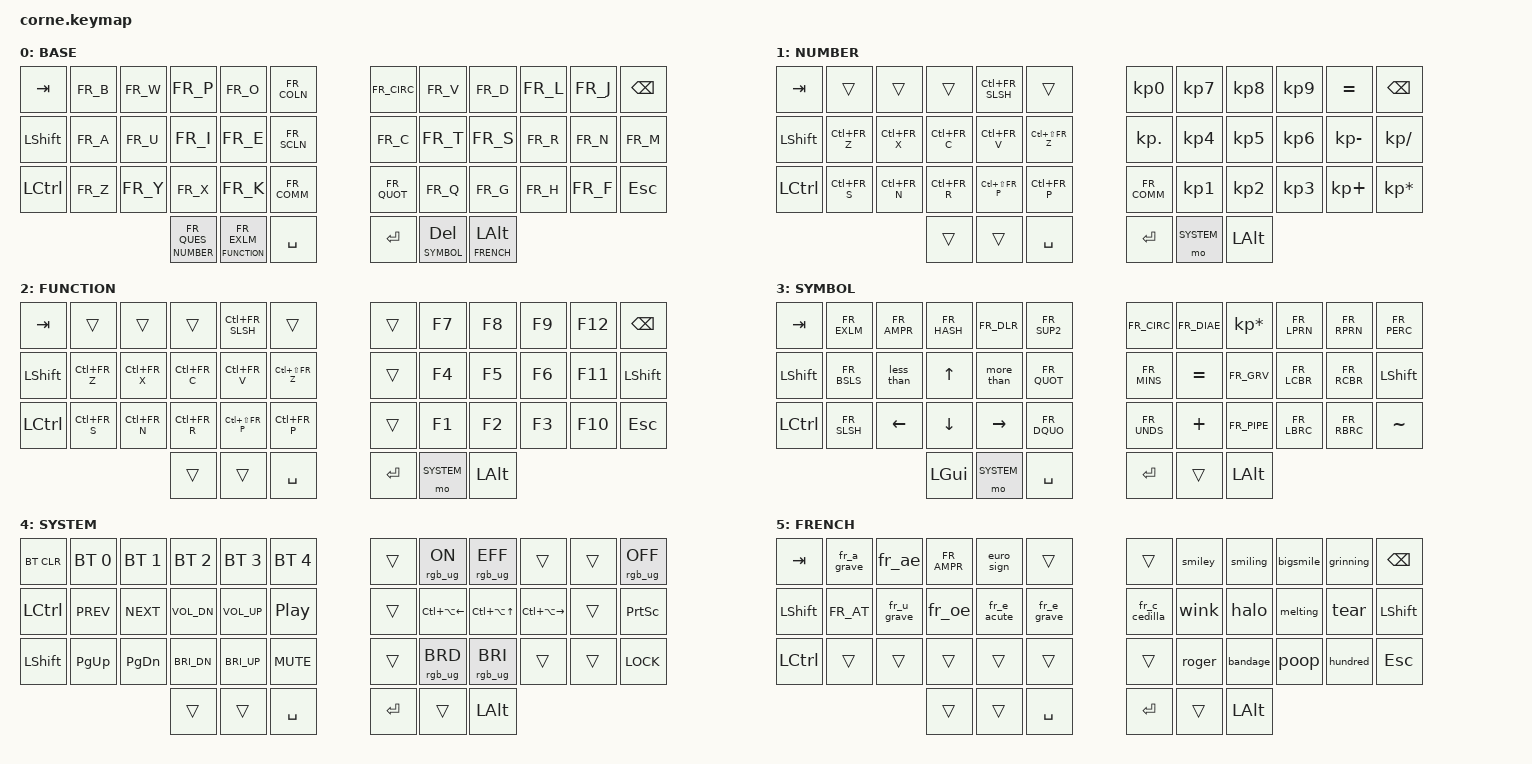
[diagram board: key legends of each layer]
#include <behaviors.dtsi>
#include <dt-bindings/zmk/keys.h>
#include <dt-bindings/zmk/bt.h>
#include <dt-bindings/zmk/ext_power.h>
#include <dt-bindings/zmk/rgb.h>
#include "keymap_bepo.h"
#define HOST_OS 1  // set to 1 for Linux, default is 0 (Windows)
#include "helper.h"


#define DEFAULT   0
#define NUMBER    1
#define FUNCTION  2
#define SYMBOL     3
#define SYSTEM    4
#define FRENCH    5

ZMK_UNICODE_SINGLE(euro_sign, N2, N0, A, C)  // €
ZMK_UNICODE_SINGLE(less_than, N0, N0, N3, C)  // <
ZMK_UNICODE_SINGLE(more_than, N0, N0, N3, E)  // >
ZMK_UNICODE_PAIR(fr_ae,             N0, N0, E, N6,   N0, N0, C, N6)  // æ/Æ
ZMK_UNICODE_PAIR(fr_oe,             N0, N1, N5, N3,  N0, N1, N5, N2) // œ/Œ
ZMK_UNICODE_PAIR(fr_a_grave,        N0, N0, E, N0,   N0, N0, C, N0)  // à/À
ZMK_UNICODE_PAIR(fr_a_circumflex,   N0, N0, E, N2,   N0, N0, C, N2)  // â/Â
ZMK_UNICODE_PAIR(fr_c_cedilla,      N0, N0, E, N7,   N0, N0, C, N7)  // ç/Ç
ZMK_UNICODE_PAIR(fr_e_grave,        N0, N0, E, N8,   N0, N0, C, N8)  // è/È
ZMK_UNICODE_PAIR(fr_e_acute,        N0, N0, E, N9,   N0, N0, C, N9)  // é/É
ZMK_UNICODE_PAIR(fr_e_circumflex,   N0, N0, E, A,    N0, N0, C, A)   // ê/Ê
ZMK_UNICODE_PAIR(fr_e_diaeresis,    N0, N0, E, B,    N0, N0, C, B)   // ë/Ë
ZMK_UNICODE_PAIR(fr_i_circumflex,   N0, N0, E, E,    N0, N0, C, E)   // î/Î
ZMK_UNICODE_PAIR(fr_i_diaeresis,    N0, N0, E, F,    N0, N0, C, F)   // ï/Ï
ZMK_UNICODE_PAIR(fr_o_circumflex,   N0, N0, F, N4,   N0, N0, D, N4)  // ô/Ô
ZMK_UNICODE_PAIR(fr_u_grave,        N0, N0, F, N9,   N0, N0, D, N9)  // ù/Ù
ZMK_UNICODE_PAIR(fr_u_circumflex,   N0, N0, F, B,    N0, N0, D, B)   // û/Û
ZMK_UNICODE_PAIR(fr_u_diaeresis,    N0, N0, F, C,    N0, N0, D, C)   // ü/Ü
ZMK_UNICODE_PAIR(fr_y_diaeresis,    N0, N0, F, F,    N0, N1, N7, N8) // ÿ/Ÿ

ZMK_UNICODE_EMOJI(smiley, N1, F, N6, N0,N0 ) // 😀
ZMK_UNICODE_EMOJI(smiling, N1, F, N6, N0,N4 ) // 😄
ZMK_UNICODE_EMOJI(bigsmile, N1, F, N6, N0,N1 ) // 😁
ZMK_UNICODE_EMOJI(grinning, N1, F, N6, N0,N6 ) // 😆

ZMK_UNICODE_EMOJI(wink, N1, F, N6, N0,N9 ) // 😉
ZMK_UNICODE_EMOJI(halo, N1, F, N6, N0,N7 ) // 😇
ZMK_UNICODE_EMOJI(melting, N1, F, A, E,N0 ) // 🫠
ZMK_UNICODE_EMOJI(tear, N1, F, N9, N7,N2 ) // 🥲

ZMK_UNICODE_EMOJI(roger, N1, F, A, E,N1 ) // 🫡
ZMK_UNICODE_EMOJI(bandage, N1, F, N9, N1,N5 ) // 🤕
ZMK_UNICODE_EMOJI(poop, N1, F, N4, A,N9 ) // 💩
ZMK_UNICODE_EMOJI(hundred, N1, F, N4, A,F ) // 💯


&led_strip {
    chain-length = <27>;
    // 21 backlight + 6 glowlight
};

/ {
        keymap {
                compatible = "zmk,keymap";

                default_layer {
                        label = "BASE";
                        bindings = <
                                &kp TAB    &kp FR_B     &kp FR_W  &kp FR_P      &kp FR_O    &kp FR_COLN            &kp FR_CIRC   &kp FR_V      &kp FR_D      &kp FR_L    &kp FR_J      &kp BSPC
                                &kp LSHFT  &kp FR_A     &kp FR_U  &kp FR_I      &kp FR_E    &kp FR_SCLN            &kp FR_C      &kp FR_T      &kp FR_S      &kp FR_R    &kp FR_N      &kp FR_M
                                &kp LCTRL  &kp FR_Z     &kp FR_Y  &kp FR_X      &kp FR_K    &kp FR_COMM            &kp FR_QUOT   &kp FR_Q      &kp FR_G      &kp FR_H    &kp FR_F      &kp ESC
                                                                  &lt NUMBER FR_QUES  &lt FUNCTION FR_EXLM  &kp SPACE              &kp RET       &lt SYMBOL DEL &lt FRENCH LALT
                        >;
                };


                number_layer {
                        label = "NUMBER";
                        bindings = <
                                &kp TAB    &trans       &trans       &trans        &kp LC(FR_SLSH)      &trans                 &kp KP_N0     &kp KP_N7     &kp KP_N8     &kp KP_N9   &kp EQUAL     &kp BSPC
                                &kp LSHFT  &kp LC(FR_Z) &kp LC(FR_X)    &kp LC(FR_C)    &kp LC(FR_V) &kp LC(LS(FR_Z))       &kp KP_DOT    &kp KP_N4     &kp KP_N5     &kp KP_N6   &kp KP_MINUS  &kp KP_DIVIDE
                                &kp LCTRL  &kp LC(FR_S) &kp LC(FR_N) &kp LC(FR_R)  &kp LC(LS(FR_P))      &kp LC(FR_P)                 &kp FR_COMM   &kp KP_N1     &kp KP_N2     &kp KP_N3   &kp KP_PLUS   &kp KP_MULTIPLY
                                                                     &trans        &trans      &kp SPACE              &kp RET       &mo SYSTEM    &kp LALT
                        >;
                };

                function_layer {
                        label = "FUNCTION";
                        bindings = <
                                &kp TAB    &trans       &trans       &trans        &kp LC(FR_SLSH)      &trans                 &trans        &kp F7        &kp F8        &kp F9      &kp F12       &kp BSPC
                                &kp LSHFT  &kp LC(FR_Z) &kp LC(FR_X)    &kp LC(FR_C)    &kp LC(FR_V) &kp LC(LS(FR_Z))       &trans        &kp F4        &kp F5        &kp F6      &kp F11       &kp LSHFT
                                &kp LCTRL  &kp LC(FR_S) &kp LC(FR_N) &kp LC(FR_R)  &kp LC(LS(FR_P))      &kp LC(FR_P)                 &trans        &kp F1        &kp F2        &kp F3      &kp F10       &kp ESC
                                                                     &trans        &trans      &kp SPACE              &kp RET       &mo SYSTEM    &kp LALT
                        >;
                };

                raise_layer {
                        label = "SYMBOL";
                        bindings = <
                                &kp TAB   &kp FR_EXLM &kp FR_AMPR   &kp FR_HASH  &kp FR_DLR  &kp FR_SUP2             &kp FR_CIRC  &kp FR_DIAE  &kp KP_MULTIPLY  &kp FR_LPRN  &kp FR_RPRN  &kp FR_PERC
                                &kp LSHFT &kp FR_BSLS &less_than    &kp UP       &more_than  &kp FR_QUOT             &kp FR_MINS  &kp EQUAL    &kp FR_GRV       &kp FR_LCBR  &kp FR_RCBR  &kp LSHFT
                                &kp LCTRL &kp FR_SLSH &kp LEFT      &kp DOWN     &kp RIGHT   &kp FR_DQUO             &kp FR_UNDS  &kp PLUS     &kp FR_PIPE      &kp FR_LBRC  &kp FR_RBRC  &kp TILDE
                                                                    &kp LGUI     &mo SYSTEM  &kp SPACE               &kp RET      &trans       &kp LALT
                        >;
                };

                system_layer {
                        label = "SYSTEM";
                        bindings = <
                                &bt BT_CLR  &bt BT_SEL 0  &bt BT_SEL 1   &bt BT_SEL 2   &bt BT_SEL 3  &bt BT_SEL 4               &trans   &rgb_ug RGB_ON  &rgb_ug RGB_EFF  &trans  &trans &rgb_ug RGB_OFF 
                                &kp LCTRL   &kp C_PREV    &kp C_NEXT     &kp C_VOL_DN   &kp C_VOL_UP  &kp C_PP                   &trans   &kp LC(LA(LEFT)) &kp LC(LA(UP))  &kp LC(LA(RIGHT))  &trans &kp PSCRN
                                &kp LSHFT   &kp PAGE_UP   &kp PAGE_DOWN  &kp C_BRI_DN   &kp C_BRI_UP  &kp C_MUTE                 &trans   &rgb_ug RGB_BRD &rgb_ug RGB_BRI  &trans  &trans &kp K_LOCK    
                                                                         &trans       &trans        &kp SPACE                  &kp RET  &trans  &kp LALT
                        >;
                };


                french_layer {
                        label = "FRENCH";
                        bindings = <
                                &kp TAB    &fr_a_grave  &fr_ae       &kp FR_AMPR  &euro_sign     &trans                    &trans         &smiley &smiling &bigsmile &grinning   &kp BSPC
                                &kp LSHFT  &kp FR_AT    &fr_u_grave  &fr_oe       &fr_e_acute    &fr_e_grave               &fr_c_cedilla  &wink &halo &melting &tear   &kp LSHFT
                                &kp LCTRL  &trans       &trans       &trans       &trans         &trans                    &trans         &roger &bandage &poop &hundred   &kp ESC
                                                                     &trans       &trans         &kp SPACE                 &kp RET        &trans  &kp LALT
                        >;
                };
        };
};
